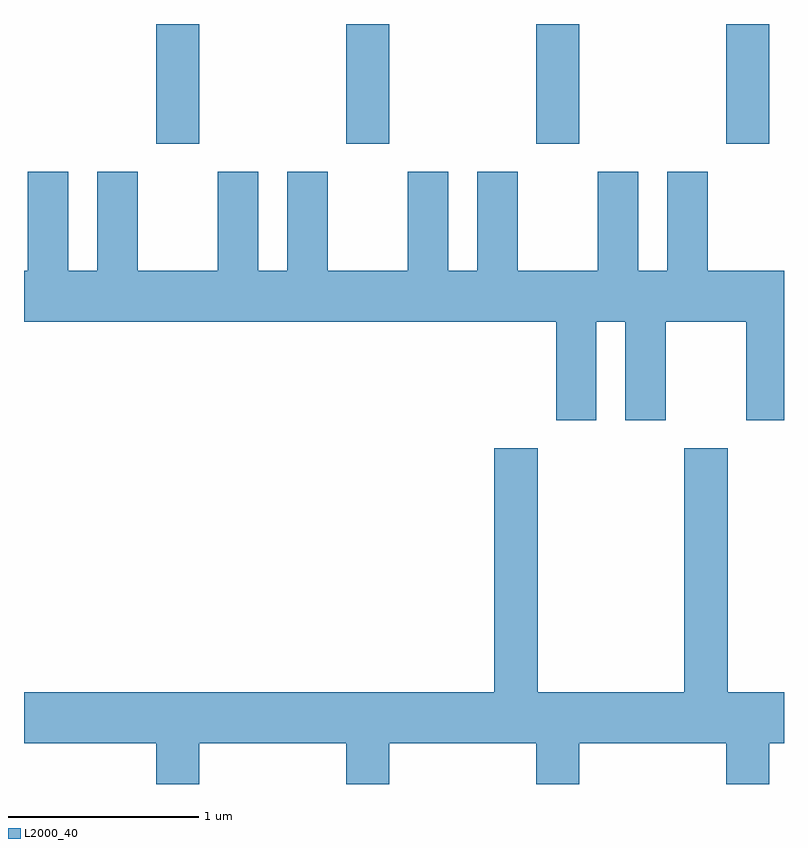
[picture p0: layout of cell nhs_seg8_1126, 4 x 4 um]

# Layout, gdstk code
import gdstk
lib = gdstk.Library(unit=1e-6, precision=1e-09)
def R(c, l, rs):  # rectangles x0, y0, x1, y1
    for r in rs: c.add(gdstk.rectangle(r[:2], r[2:], *l))
def A(c, l, x, y, w, h, nx, ny, dx, dy):  # array of equal rectangles
    R(c, l, [(x+i*dx, y+j*dy, x+i*dx+w, y+j*dy+h) for i in range(nx) for j in range(ny)])
def P(c, l, *ps):  # polygons
    for p in ps: c.add(gdstk.Polygon(p, *l))
L2000_40 = (2000, 40)

nhs_seg8_1126 = lib.new_cell('nhs_seg8_1126')
A(nhs_seg8_1126, L2000_40, 218.306, 1921.711, 0.228, 0.631, 4, 1, 1, 0)
P(nhs_seg8_1126, L2000_40, [(220.624,1920.776),(220.776,1920.776),(220.776,1920.256),(220.989,1920.256),(220.989,1920.776),(221.411,1920.776),(221.411,1920.256),(221.611,1920.256),(221.611,1921.044),(221.209,1921.044),(221.209,1921.564),(220.996,1921.564),(220.996,1921.044),(220.844,1921.044),(220.844,1921.564),(220.631,1921.564),(220.631,1921.044),(220.209,1921.044),(220.209,1921.564),(219.996,1921.564),(219.996,1921.044),(219.844,1921.044),(219.844,1921.564),(219.631,1921.564),(219.631,1921.044),(219.209,1921.044),(219.209,1921.564),(218.996,1921.564),(218.996,1921.044),(218.844,1921.044),(218.844,1921.564),(218.631,1921.564),(218.631,1921.044),(218.209,1921.044),(218.209,1921.564),(217.996,1921.564),(217.996,1921.044),(217.844,1921.044),(217.844,1921.564),(217.631,1921.564),(217.631,1921.044),(217.611,1921.044),(217.611,1920.776),(220.411,1920.776),(220.411,1920.256),(220.624,1920.256)],
  [(220.314,1920.109),(220.086,1920.109),(220.086,1918.824),(217.611,1918.824),(217.611,1918.556),(218.306,1918.556),(218.306,1918.342),(218.534,1918.342),(218.534,1918.556),(219.306,1918.556),(219.306,1918.342),(219.534,1918.342),(219.534,1918.556),(220.306,1918.556),(220.306,1918.342),(220.534,1918.342),(220.534,1918.556),(221.306,1918.556),(221.306,1918.342),(221.534,1918.342),(221.534,1918.556),(221.611,1918.556),(221.611,1918.824),(221.314,1918.824),(221.314,1920.109),(221.086,1920.109),(221.086,1918.824),(220.314,1918.824)])

lib.write_gds('nhs_seg8_1126.gds')
